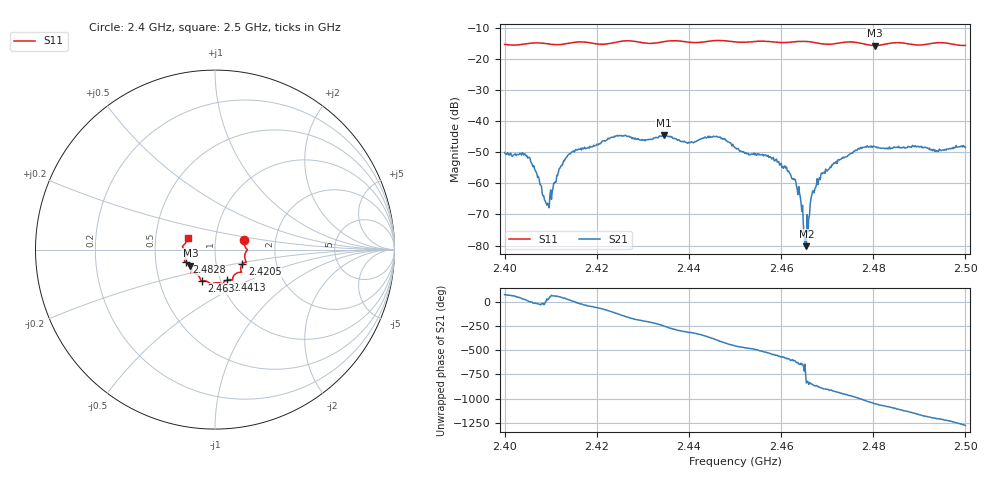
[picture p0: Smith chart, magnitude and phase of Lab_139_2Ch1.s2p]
# Hz S RI R 50
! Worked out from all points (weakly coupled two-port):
!   601 points, 2.4 GHz to 2.5 GHz, reference 50 ohm
!   highest |S21| = -44.45 dB at 2.4345 GHz (marker M1); lowest = -80.2 dB at 2.4655 GHz (marker M2)
!   lowest |S11| = -15.7 dB at 2.4803 GHz (marker M3), VSWR 1.39, Z = 37.4 - j6.81 ohm
!   |S11| at or under -10 dB: start of sweep to end of sweep
!   S12 and S22 are empty: the file has one direction only
!   S11 on the Smith chart (normalised r, x): 2.4 GHz: 1.38, +0.15; 2.4205 GHz: 1.34, -0.22; 2.4413 GHz: 1.07, -0.38; 2.463 GHz: 0.82, -0.29; 2.4828 GHz: 0.72, -0.10; 2.5 GHz: 0.73, +0.10
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2.4e9  0.1626 0.0523  0.00058 0.00307  0 0  0 0
2.405e9  0.1762 0.00409  0.00245 0.000713  0 0  0 0
2.409167e9  0.1748 -0.00856  0.000373 0.000242  0 0  0 0
2.413167e9  0.1668 -0.0499  0.00194 0.00155  0 0  0 0
2.416667e9  0.1737 -0.0695  0.00326 -0.00105  0 0  0 0
2.4205e9  0.1518 -0.081  0.00206 -0.00384  0 0  0 0
2.433333e9  0.1007 -0.1515  -0.00354 0.00408  0 0  0 0
2.4345e9  0.0983 -0.1608  -0.00244 0.00547  0 0  0 0
2.441333e9  0.0669 -0.1696  0.00375 0.00272  0 0  0 0
2.446333e9  0.0417 -0.1929  0.00431 -0.00344  0 0  0 0
2.45e9  0.0247 -0.1856  -0.000329 -0.00372  0 0  0 0
2.458667e9  -0.0348 -0.1824  -0.00225 0.000478  0 0  0 0
2.463e9  -0.0722 -0.1737  -0.000452 0.00107  0 0  0 0
2.464167e9  -0.0777 -0.1743  0.000174 0.000587  0 0  0 0
2.4655e9  -0.08 -0.1724  -4.76e-05 -8.53e-05  0 0  0 0
2.466667e9  -0.0813 -0.1673  -0.00042 -0.000499  0 0  0 0
2.468667e9  -0.0876 -0.1516  -0.00138 -0.000268  0 0  0 0
2.4715e9  -0.1135 -0.1324  -0.00194 0.0009  0 0  0 0
2.480333e9  -0.1373 -0.0887  0.00349 0.00169  0 0  0 0
2.482833e9  -0.1588 -0.07  0.0036 -8.89e-05  0 0  0 0
2.483333e9  -0.1627 -0.0682  0.00358 -0.000273  0 0  0 0
2.5e9  -0.1516 0.0642  -0.00352 0.00127  0 0  0 0
